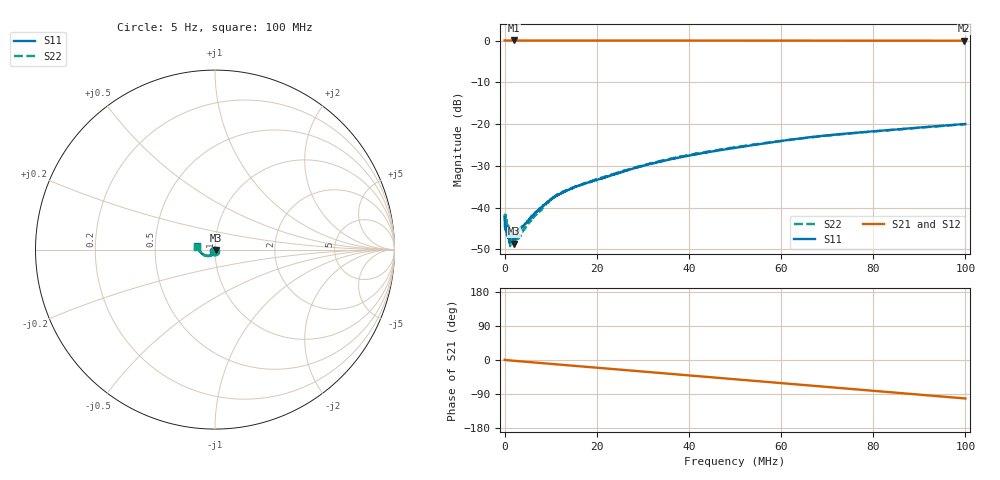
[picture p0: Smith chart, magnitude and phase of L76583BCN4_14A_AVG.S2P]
!Agilent Technologies,E5061B,MY49102235,A.02.00
!Date: Tue Jul 11 17:07:47 2023
!Data & Calibration Information:
!Freq	S11:SOLT2(ON)	S21:SOLT2(ON)	S12:SOLT2(ON)	S22:SOLT2(ON)
# Hz S RI R 50
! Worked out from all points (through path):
!   1600 points, 5 Hz to 100 MHz, reference 50 ohm
!   highest |S21| = 0.02 dB at 1.939 MHz (marker M1); lowest = 0.0 dB at 99.75 MHz (marker M2)
!   group delay of S21, straight-line fit = 2.82 ns
!   lowest |S11| = -48.6 dB at 1.939 MHz (marker M3), VSWR 1.01, Z = 50.3 - j0.205 ohm
!   |S11| at or under -10 dB: start of sweep to end of sweep
!   |S22| runs from -49.3 to -20.0 dB; largest |S21 - S12| = 0.0028
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5  -0.0052 -0.00564  1.002 0.00797  1.001 0.0103  -0.00138 -0.00755
437778.6  0.00515 -0.000533  1.002 -0.00539  1.001 -0.00618  0.00662 -0.00214
625395.8  0.00512 -0.000553  1.002 -0.0106  1.002 -0.0101  0.0061 -0.000905
938091.3  0.00427 -0.000279  1.002 -0.0153  1.001 -0.0146  0.00585 -0.00086
1500943  0.0043 -0.00229  1.002 -0.0253  1.001 -0.0249  0.00297 -0.00347
1938717  0.00308 -0.00204  1.002 -0.0341  1.001 -0.0334  0.00337 -0.00179
2376490  0.00327 -0.00263  0.9999 -0.0418  1 -0.0418  0.00391 -0.00233
3252037  0.00422 -0.00371  0.9995 -0.0576  0.9991 -0.0571  0.00313 -0.00322
6003757  0.00335 -0.00699  0.9954 -0.1062  0.9953 -0.1056  0.00293 -0.00683
9505946  0.00163 -0.0117  0.9869 -0.168  0.9869 -0.1674  0.00105 -0.0117
1.156974e7  0.000235 -0.0143  0.9803 -0.2038  0.9798 -0.2032  -0.000639 -0.0144
1.669794e7  -0.00329 -0.0185  0.9571 -0.2919  0.9569 -0.2913  -0.00366 -0.0186
2.582865e7  -0.00971 -0.0251  0.8978 -0.4423  0.8975 -0.4419  -0.00767 -0.0264
3.333334e7  -0.0176 -0.0303  0.8307 -0.5574  0.8306 -0.5568  -0.0162 -0.0315
4.033771e7  -0.0259 -0.0335  0.755 -0.6556  0.755 -0.655  -0.0254 -0.0347
5.003127e7  -0.0384 -0.0348  0.6316 -0.775  0.6315 -0.7745  -0.0386 -0.0358
6.672921e7  -0.0639 -0.0288  0.3774 -0.9244  0.3778 -0.9241  -0.0631 -0.0289
7.53596e7  -0.0754 -0.02  0.2322 -0.9704  0.2325 -0.97  -0.0746 -0.0209
8.33646e7  -0.0842 -0.00866  0.0928 -0.993  0.093 -0.9929  -0.0836 -0.0107
9.161976e7  -0.0922 0.00473  -0.0532 -0.9952  -0.053 -0.995  -0.0917 0.00173
9.974984e7  -0.0981 0.0195  -0.1953 -0.9763  -0.1947 -0.9763  -0.0978 0.0165
1e8  -0.0982 0.0199  -0.1996 -0.9756  -0.1991 -0.9755  -0.0982 0.0172
